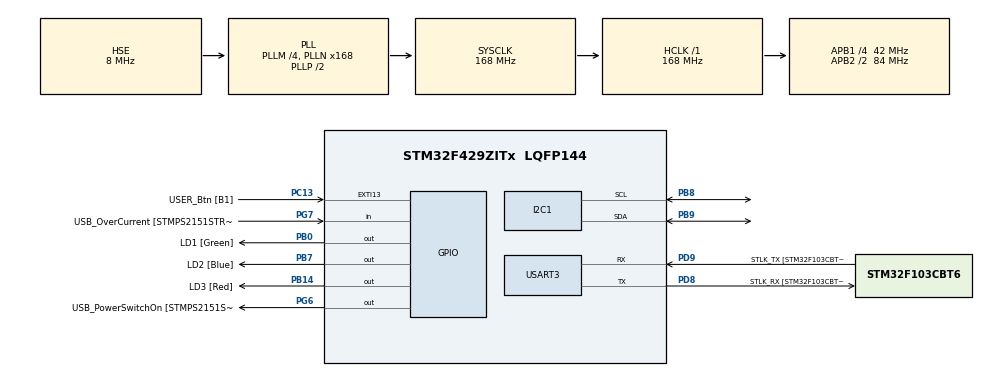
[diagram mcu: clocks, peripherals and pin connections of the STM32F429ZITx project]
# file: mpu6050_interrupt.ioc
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Mcu.Family=STM32F4
Mcu.Name=STM32F429ZITx
Mcu.Package=LQFP144
NVIC.I2C1_ER_IRQn=true\:0\:0\:false\:false\:true\:true\:true\:true
NVIC.I2C1_EV_IRQn=true\:0\:0\:false\:false\:true\:true\:true\:true
NVIC.PriorityGroup=NVIC_PRIORITYGROUP_4
PA13.GPIO_Label=TMS
PA13.Mode=Serial_Wire
PA13.Signal=SYS_JTMS-SWDIO
PA14.GPIO_Label=TCK
PA14.Mode=Serial_Wire
PA14.Signal=SYS_JTCK-SWCLK
PB0.GPIO_Label=LD1 [Green]
PB0.Signal=GPIO_Output
PB14.GPIO_Label=LD3 [Red]
PB14.Signal=GPIO_Output
PB7.GPIO_Label=LD2 [Blue]
PB7.Signal=GPIO_Output
PB8.Mode=I2C
PB8.Signal=I2C1_SCL
PB9.Mode=I2C
PB9.Signal=I2C1_SDA
PC13.GPIO_Label=USER_Btn [B1]
PC13.Signal=GPXTI13
PC14/OSC32_IN.Mode=LSE-External-Oscillator
PC14/OSC32_IN.Signal=RCC_OSC32_IN
PC15/OSC32_OUT.Mode=LSE-External-Oscillator
PC15/OSC32_OUT.Signal=RCC_OSC32_OUT
PD8.GPIO_Label=STLK_RX [STM32F103CBT6_PA3]
PD8.Mode=Asynchronous
PD8.Signal=USART3_TX
PD9.GPIO_Label=STLK_TX [STM32F103CBT6_PA2]
PD9.Mode=Asynchronous
PD9.Signal=USART3_RX
PG6.GPIO_Label=USB_PowerSwitchOn [STMPS2151STR_EN]
PG6.Signal=GPIO_Output
PG7.GPIO_Label=USB_OverCurrent [STMPS2151STR_FAULT]
PG7.Signal=GPIO_Input
PH0/OSC_IN.GPIO_Label=MCO [STM32F103CBT6_PA8]
PH0/OSC_IN.Mode=HSE-External-Clock-Source
PH0/OSC_IN.Signal=RCC_OSC_IN
PH1/OSC_OUT.Mode=HSE-External-Clock-Source
PH1/OSC_OUT.Signal=RCC_OSC_OUT
ProjectManager.HeapSize=0x200
ProjectManager.StackSize=0x400
ProjectManager.TargetToolchain=STM32CubeIDE
RCC.48MHZClocksFreq_Value=48000000
RCC.AHBFreq_Value=168000000
RCC.APB1CLKDivider=RCC_HCLK_DIV4
RCC.APB1Freq_Value=42000000
RCC.APB1TimFreq_Value=84000000
RCC.APB2CLKDivider=RCC_HCLK_DIV2
RCC.APB2Freq_Value=84000000
RCC.APB2TimCLKDivider=2
RCC.APB2TimFreq_Value=168000000
RCC.CortexFreq_Value=168000000
RCC.HCLKFreq_Value=168000000
RCC.HSE_VALUE=8000000
RCC.HSI_VALUE=16000000
RCC.PLLM=4
RCC.PLLMUL=RCC_PLL_MUL9
RCC.PLLN=168
RCC.PLLQ=7
RCC.PLLSourceVirtual=RCC_PLLSOURCE_HSE
RCC.PRESCALERUSB=RCC_USBCLKSOURCE_PLL_DIV1_5
RCC.SYSCLKFreq_VALUE=168000000
RCC.SYSCLKSource=RCC_SYSCLKSOURCE_PLLCLK
RCC.SYSCLKSourceVirtual=RCC_SYSCLKSOURCE_PLLCLK
RCC.USBFreq_Value=48000000
RCC.VCOOutputFreq_Value=336000000
USART3.VirtualMode=VM_ASYNC
board=NUCLEO-F429ZI

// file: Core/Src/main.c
/* USER CODE BEGIN Header */
/**
  ******************************************************************************
  * @file           : main.c
  * @brief          : Main program body
  ******************************************************************************
  * @attention
  *
  * Copyright (c) 2025 STMicroelectronics.
  * All rights reserved.
  *
  * This software is licensed under terms that can be found in the LICENSE file
  * in the root directory of this software component.
  * If no LICENSE file comes with this software, it is provided AS-IS.
  *
  ******************************************************************************
  */
/* USER CODE END Header */
#include "main.h"

/* USER CODE BEGIN PTD */
typedef enum{
	MPU_N = 0,
	MPU_ACCEL,
	MPU_GYRO
}mpu_state;

mpu_state s = MPU_N;
/* USER CODE END PTD */

/* USER CODE BEGIN PD */
#define DEV_ADDR (0x68 << 1)
#define MPU_READ_H 0x3B
#define MPU_DIV 0x19
#define MPU_ACONFIG 0x1C
#define MPU_GCONFIG 0x1B
#define MPU_WHO 0x75
#define MPU_PWR 0x6B

/* USER CODE END PD */

/* USER CODE BEGIN PM */
char buf[256];

int16_t ax ,ay, az = 0;
int16_t gx, gy, gz = 0;

float AXR, AYR, AZR;
float GXR, GYR,GZR;

uint8_t data[6];

/* USER CODE END PM */

I2C_HandleTypeDef hi2c1;

UART_HandleTypeDef huart3;

void SystemClock_Config(void);
static void MX_GPIO_Init(void);
static void MX_USART3_UART_Init(void);
static void MX_I2C1_Init(void);

/* USER CODE BEGIN 0 */
void MPU_init(){
	uint8_t c, v;

	HAL_I2C_Mem_Read(&hi2c1,DEV_ADDR,MPU_WHO,1,&c,1,1000);

	if(c == 104){
		v = 0x00;
		HAL_I2C_Mem_Write(&hi2c1,DEV_ADDR,MPU_PWR,1,&v,1,1000);

		v = 0x07;
		HAL_I2C_Mem_Write(&hi2c1,DEV_ADDR,MPU_DIV,1,&v,1,1000);

		v = 0x00;
		HAL_I2C_Mem_Write(&hi2c1,DEV_ADDR,MPU_GCONFIG,1,&v,1,1000);

		v = 0x00;
		HAL_I2C_Mem_Write(&hi2c1,DEV_ADDR,MPU_ACONFIG,1,&v,1,1000);
	}
}

void Read_Accel(void){
	s = MPU_ACCEL;

HAL_I2C_Mem_Read_IT(&hi2c1,DEV_ADDR,MPU_READ_H,1,data,6);
}

void Read_Gyro(void){
	s = MPU_GYRO;

	HAL_I2C_Mem_Read_IT(&hi2c1,DEV_ADDR,MPU_READ_H,1,data,6);

}

void Send_data(void){
	sprintf(buf,"%.2f %.2f %.2f\r\n,",GXR,GYR,GZR);

	HAL_UART_Transmit(&huart3,(uint8_t *)buf,strlen(buf),0xFFFF);
}
/* USER CODE END 0 */

int main(void)
{

  /* MCU Configuration--------------------------------------------------------*/

  /* Reset of all peripherals, Initializes the Flash interface and the Systick. */
  HAL_Init();

  /* Configure the system clock */
  SystemClock_Config();

  /* Initialize all configured peripherals */
  MX_GPIO_Init();
  MX_USART3_UART_Init();
  MX_I2C1_Init();

  MPU_init();

  /* Infinite loop */
  while (1)
  {
    Read_Accel();
    HAL_Delay(10);
    Read_Gyro();
    HAL_Delay(10);
    Send_data();
    HAL_Delay(500);

  }
}

void SystemClock_Config(void)
{
  RCC_OscInitTypeDef RCC_OscInitStruct = {0};
  RCC_ClkInitTypeDef RCC_ClkInitStruct = {0};

  /** Configure the main internal regulator output voltage
  */
  __HAL_RCC_PWR_CLK_ENABLE();
  __HAL_PWR_VOLTAGESCALING_CONFIG(PWR_REGULATOR_VOLTAGE_SCALE1);

  /** Initializes the RCC Oscillators according to the specified parameters
  * in the RCC_OscInitTypeDef structure.
  */
  RCC_OscInitStruct.OscillatorType = RCC_OSCILLATORTYPE_HSE;
  RCC_OscInitStruct.HSEState = RCC_HSE_BYPASS;
  RCC_OscInitStruct.PLL.PLLState = RCC_PLL_ON;
  RCC_OscInitStruct.PLL.PLLSource = RCC_PLLSOURCE_HSE;
  RCC_OscInitStruct.PLL.PLLM = 4;
  RCC_OscInitStruct.PLL.PLLN = 168;
  RCC_OscInitStruct.PLL.PLLP = RCC_PLLP_DIV2;
  RCC_OscInitStruct.PLL.PLLQ = 7;
  if (HAL_RCC_OscConfig(&RCC_OscInitStruct) != HAL_OK)
  {
    Error_Handler();
  }

  /** Initializes the CPU, AHB and APB buses clocks
  */
  RCC_ClkInitStruct.ClockType = RCC_CLOCKTYPE_HCLK|RCC_CLOCKTYPE_SYSCLK
                              |RCC_CLOCKTYPE_PCLK1|RCC_CLOCKTYPE_PCLK2;
  RCC_ClkInitStruct.SYSCLKSource = RCC_SYSCLKSOURCE_PLLCLK;
  RCC_ClkInitStruct.AHBCLKDivider = RCC_SYSCLK_DIV1;
  RCC_ClkInitStruct.APB1CLKDivider = RCC_HCLK_DIV4;
  RCC_ClkInitStruct.APB2CLKDivider = RCC_HCLK_DIV2;

  if (HAL_RCC_ClockConfig(&RCC_ClkInitStruct, FLASH_LATENCY_5) != HAL_OK)
  {
    Error_Handler();
  }
}

static void MX_I2C1_Init(void)
{

  hi2c1.Instance = I2C1;
  hi2c1.Init.ClockSpeed = 100000;
  hi2c1.Init.DutyCycle = I2C_DUTYCYCLE_2;
  hi2c1.Init.OwnAddress1 = 0;
  hi2c1.Init.AddressingMode = I2C_ADDRESSINGMODE_7BIT;
  hi2c1.Init.DualAddressMode = I2C_DUALADDRESS_DISABLE;
  hi2c1.Init.OwnAddress2 = 0;
  hi2c1.Init.GeneralCallMode = I2C_GENERALCALL_DISABLE;
  hi2c1.Init.NoStretchMode = I2C_NOSTRETCH_DISABLE;
  if (HAL_I2C_Init(&hi2c1) != HAL_OK)
  {
    Error_Handler();
  }

  /** Configure Analogue filter
  */
  if (HAL_I2CEx_ConfigAnalogFilter(&hi2c1, I2C_ANALOGFILTER_ENABLE) != HAL_OK)
  {
    Error_Handler();
  }

  /** Configure Digital filter
  */
  if (HAL_I2CEx_ConfigDigitalFilter(&hi2c1, 0) != HAL_OK)
  {
    Error_Handler();
  }

}

static void MX_USART3_UART_Init(void)
{

  huart3.Instance = USART3;
  huart3.Init.BaudRate = 115200;
  huart3.Init.WordLength = UART_WORDLENGTH_8B;
  huart3.Init.StopBits = UART_STOPBITS_1;
  huart3.Init.Parity = UART_PARITY_NONE;
  huart3.Init.Mode = UART_MODE_TX_RX;
  huart3.Init.HwFlowCtl = UART_HWCONTROL_NONE;
  huart3.Init.OverSampling = UART_OVERSAMPLING_16;
  if (HAL_UART_Init(&huart3) != HAL_OK)
  {
    Error_Handler();
  }

}

static void MX_GPIO_Init(void)
{
  GPIO_InitTypeDef GPIO_InitStruct = {0};

  /* GPIO Ports Clock Enable */
  __HAL_RCC_GPIOC_CLK_ENABLE();
  __HAL_RCC_GPIOH_CLK_ENABLE();
  __HAL_RCC_GPIOB_CLK_ENABLE();
  __HAL_RCC_GPIOD_CLK_ENABLE();
  __HAL_RCC_GPIOG_CLK_ENABLE();
  __HAL_RCC_GPIOA_CLK_ENABLE();

  /*Configure GPIO pin Output Level */
  HAL_GPIO_WritePin(GPIOB, LD1_Pin|LD3_Pin|LD2_Pin, GPIO_PIN_RESET);

  /*Configure GPIO pin Output Level */
  HAL_GPIO_WritePin(USB_PowerSwitchOn_GPIO_Port, USB_PowerSwitchOn_Pin, GPIO_PIN_RESET);

  /*Configure GPIO pin : USER_Btn_Pin */
  GPIO_InitStruct.Pin = USER_Btn_Pin;
  GPIO_InitStruct.Mode = GPIO_MODE_IT_RISING;
  GPIO_InitStruct.Pull = GPIO_NOPULL;
  HAL_GPIO_Init(USER_Btn_GPIO_Port, &GPIO_InitStruct);

  /*Configure GPIO pins : LD1_Pin LD3_Pin LD2_Pin */
  GPIO_InitStruct.Pin = LD1_Pin|LD3_Pin|LD2_Pin;
  GPIO_InitStruct.Mode = GPIO_MODE_OUTPUT_PP;
  GPIO_InitStruct.Pull = GPIO_NOPULL;
  GPIO_InitStruct.Speed = GPIO_SPEED_FREQ_LOW;
  HAL_GPIO_Init(GPIOB, &GPIO_InitStruct);

  /*Configure GPIO pin : USB_PowerSwitchOn_Pin */
  GPIO_InitStruct.Pin = USB_PowerSwitchOn_Pin;
  GPIO_InitStruct.Mode = GPIO_MODE_OUTPUT_PP;
  GPIO_InitStruct.Pull = GPIO_NOPULL;
  GPIO_InitStruct.Speed = GPIO_SPEED_FREQ_LOW;
  HAL_GPIO_Init(USB_PowerSwitchOn_GPIO_Port, &GPIO_InitStruct);

  /*Configure GPIO pin : USB_OverCurrent_Pin */
  GPIO_InitStruct.Pin = USB_OverCurrent_Pin;
  GPIO_InitStruct.Mode = GPIO_MODE_INPUT;
  GPIO_InitStruct.Pull = GPIO_NOPULL;
  HAL_GPIO_Init(USB_OverCurrent_GPIO_Port, &GPIO_InitStruct);

}

/* USER CODE BEGIN 4 */
void HAL_I2C_MemRxCpltCallback(I2C_HandleTypeDef *hi2c)
{
	if(hi2c->Instance == hi2c1.Instance){
		if(s == MPU_ACCEL){
		ax = (int16_t)(data[0]<<8 | data[1]);
		ay = (int16_t)(data[2]<<8 | data[3]);
		az = (int16_t)(data[4]<<8 | data[5]);

		AXR = (float)ax/16384.0;
		AYR = (float)ay/16384.0;
		AZR = (float)az/16384.0;
	}
	else if(s == MPU_GYRO){
		gx = (int16_t)(data[0]<<8 | data[1]);
		gy = (int16_t)(data[2]<<8 | data[3]);
		gz = (int16_t)(data[4]<<8 | data[5]);

		GXR = (float)gx/131.0;
		GYR = (float)gy/131.0;
		GZR = (float)gz/131.0;
		}
	}
}
/* USER CODE END 4 */

void Error_Handler(void)
{
  __disable_irq();
  while (1)
  {
  }
}
